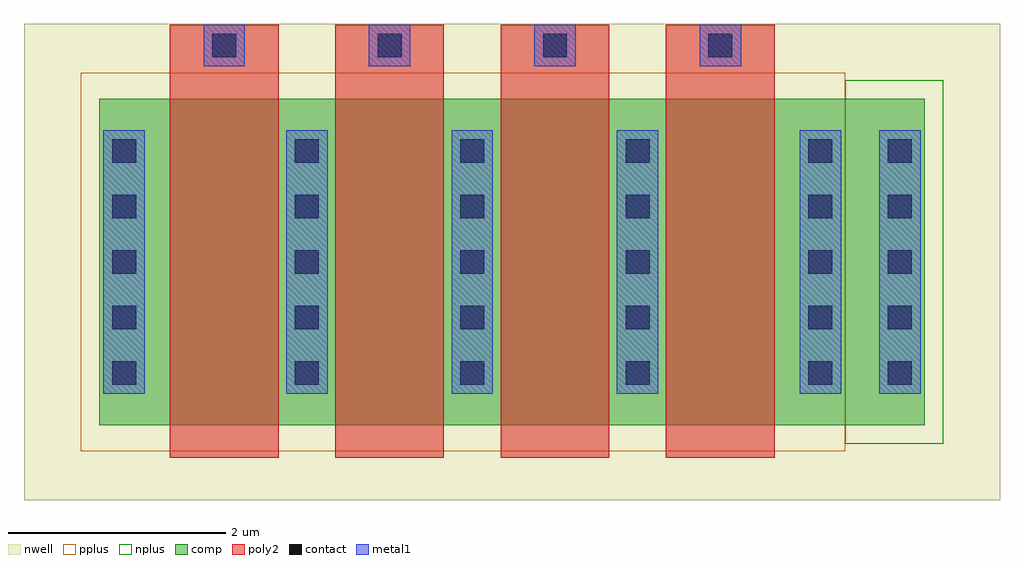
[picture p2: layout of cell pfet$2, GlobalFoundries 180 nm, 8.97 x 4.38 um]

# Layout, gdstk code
import gdstk
lib = gdstk.Library(unit=1e-6, precision=1e-09)
def R(c, l, rs):  # rectangles x0, y0, x1, y1
    for r in rs: c.add(gdstk.rectangle(r[:2], r[2:], *l))
def A(c, l, x, y, w, h, nx, ny, dx, dy):  # array of equal rectangles
    R(c, l, [(x+i*dx, y+j*dy, x+i*dx+w, y+j*dy+h) for i in range(nx) for j in range(ny)])
nwell = (21, 0)
comp = (22, 0)
poly2 = (30, 0)
pplus = (31, 0)
nplus = (32, 0)
contact = (33, 0)
metal1 = (34, 0)

pfet_2 = lib.new_cell('pfet$2')
R(pfet_2, nwell, [(-1.15,-0.69,7.82,3.69)])
R(pfet_2, comp, [(-0.46,0,0,3), (0,0,5.94,3), (5.94,0,6.4,3), (6.4,0,7.13,3)])
A(pfet_2, poly2, 0.19, -0.3, 1, 3.6, 4, 1, 1.52, 0)
A(pfet_2, poly2, 0.19, 3.3, 1, 0.38, 4, 1, 1.52, 0)
R(pfet_2, pplus, [(-0.63,-0.24,6.4,3.24)])
R(pfet_2, nplus, [(6.4,-0.17,7.3,3.17)])
A(pfet_2, contact, -0.34, 0.37, 0.22, 0.22, 1, 5, 0, 0.51)
A(pfet_2, contact, 1.34, 0.37, 0.22, 0.22, 3, 5, 1.52, 0.51)
A(pfet_2, contact, 6.06, 0.37, 0.22, 0.22, 1, 5, 0, 0.51)
A(pfet_2, contact, 6.79, 0.37, 0.22, 0.22, 1, 5, 0, 0.51)
A(pfet_2, contact, 0.58, 3.38, 0.22, 0.22, 4, 1, 1.52, 0)
A(pfet_2, metal1, 1.26, 0.29, 0.38, 2.42, 3, 1, 1.52, 0)
A(pfet_2, metal1, 0.5, 3.299, 0.38, 0.382, 4, 1, 1.52, 0)
R(pfet_2, metal1, [(-0.42,0.29,-0.04,2.71), (5.98,0.29,6.36,2.71), (6.71,0.29,7.09,2.71)])

lib.write_gds('pfet_2.gds')
